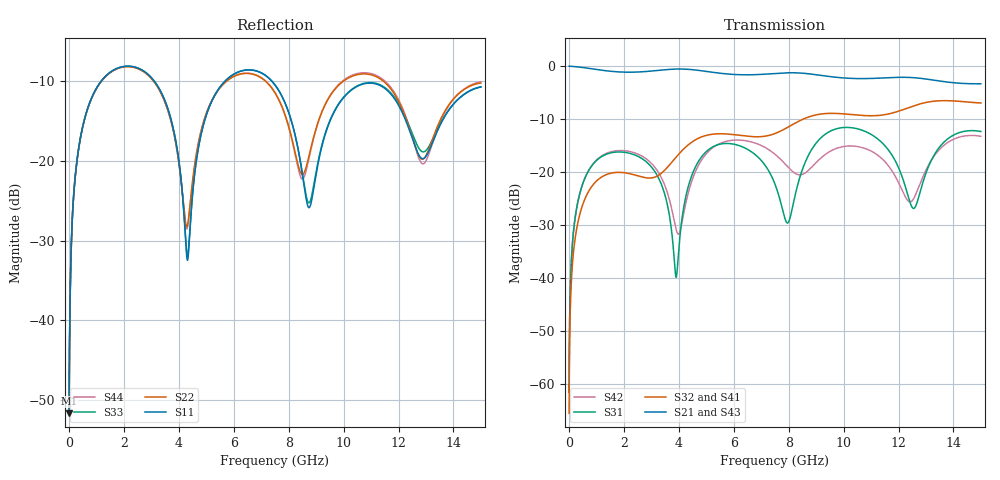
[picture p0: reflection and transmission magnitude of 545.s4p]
! Created with skrf 1.8.0 (http://scikit-rf.org).
# GHz S RI R 50.0
!freq ReS11 ImS11 ReS12 ImS12 ReS13 ImS13
! ReS14 ImS14
! ReS21 ImS21 ReS22 ImS22 ReS23 ImS23
! ReS24 ImS24
! ReS31 ImS31 ReS32 ImS32 ReS33 ImS33
! ReS34 ImS34
! ReS41 ImS41 ReS42 ImS42 ReS43 ImS43
! ReS44 ImS44
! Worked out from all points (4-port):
!   2499 points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, 5 MHz to 15 GHz, reference 50 ohm
!   strongest paths, dB at 5 MHz, 3.476 GHz, 7.19 GHz, 11.1 GHz, 15 GHz:
!     S21: 0.0, -0.7, -1.5, -2.3, -3.3
!     S43: 0.0, -0.7, -1.5, -2.3, -3.4
!     S32: -65.5, -19.7, -13.2, -9.4, -7.0
!     S41: -65.5, -19.7, -13.2, -9.4, -7.0
!     S31: -61.5, -24.0, -19.1, -13.2, -12.3
!     S42: -61.5, -22.3, -15.5, -16.3, -13.2
!   lowest |S11| = -51.7 dB at 5 MHz (marker M1), VSWR 1.01, Z = 50.2 + j0.159 ohm
!   |S11| at or under -10 dB: start of sweep to 1.17 GHz; 3.111 GHz to 5.676 GHz (2.565 GHz wide, 58.4 % of centre); 7.395 GHz to end of sweep
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0.005  0.00208 0.00158  0.9979 -0.00405  0.000106 0.000835  -0.000103 -0.000523
       0.9979 -0.00405  0.00208 0.00158  -0.000103 -0.000523  0.000107 0.000835
       0.000106 0.000835  -0.000103 -0.000523  0.00208 0.00158  0.9979 -0.00405
       -0.000103 -0.000523  0.000107 0.000835  0.9979 -0.00405  0.00208 0.00158
0.2626094  0.0277 0.087  0.9625 -0.2114  0.0123 0.0414  -0.0105 -0.0255
           0.9625 -0.2114  0.0276 0.087  -0.0105 -0.0255  0.013 0.0412
           0.0123 0.0414  -0.0105 -0.0255  0.0277 0.087  0.9625 -0.2114
           -0.0105 -0.0255  0.013 0.0412  0.9625 -0.2114  0.0276 0.087
1.269279  0.2839 0.1712  0.5223 -0.7432  0.1292 0.0636  -0.0924 -0.00187
          0.5223 -0.7432  0.2812 0.1732  -0.0925 -0.00172  0.1366 0.0528
          0.1292 0.0636  -0.0925 -0.00172  0.2839 0.1713  0.5222 -0.7432
          -0.0924 -0.00187  0.1366 0.0528  0.5222 -0.7432  0.2813 0.1731
4.245519  0.0236 -0.0217  -0.9291 -0.1054  0.0151 0.0555  -0.0168 0.1712
          -0.9291 -0.1054  0.0385 -0.0142  -0.0143 0.1714  -0.0152 0.0474
          0.0151 0.0555  -0.0143 0.1714  0.0248 -0.0217  -0.9291 -0.1052
          -0.0168 0.1712  -0.0152 0.0474  -0.9291 -0.1052  0.0373 -0.0142
8.61609  0.0496 -0.0352  0.8399 0.1419  0.0702 0.1049  0.0515 -0.3195
         0.8399 0.1419  0.0853 0.0258  0.0421 -0.3205  -0.0747 0.0648
         0.0702 0.1049  0.0421 -0.3205  0.0533 -0.0344  0.8401 0.1409
         0.0515 -0.3195  -0.0747 0.0648  0.8401 0.1409  0.0799 0.0271
11.42976  0.283 -0.0683  -0.1355 -0.7604  0.0921 -0.1618  -0.3286 0.1022
          -0.1355 -0.7604  0.2992 -0.1104  -0.3258 0.1166  0.0765 -0.107
          0.0921 -0.1618  -0.3258 0.1166  0.2871 -0.0662  -0.1357 -0.7585
          -0.3286 0.1022  0.0765 -0.107  -0.1357 -0.7585  0.3049 -0.114
15  0.2913 0.0163  -0.3005 0.6108  0.219 -0.102  0.4285 0.1257
    -0.3005 0.6108  0.3087 0.00535  0.4361 0.1048  0.2005 -0.0846
    0.219 -0.102  0.4361 0.1048  0.2912 0.0119  -0.298 0.6109
    0.4285 0.1257  0.2005 -0.0846  -0.298 0.6109  0.314 0.00941
